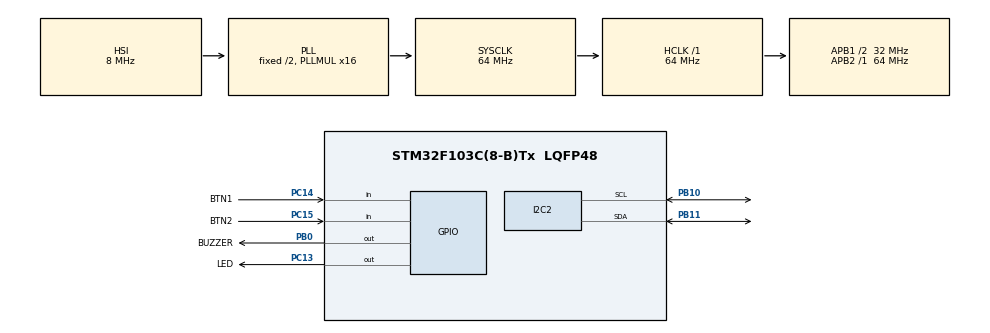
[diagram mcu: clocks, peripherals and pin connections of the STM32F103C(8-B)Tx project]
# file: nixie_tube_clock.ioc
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Mcu.Family=STM32F1
Mcu.Name=STM32F103C(8-B)Tx
Mcu.Package=LQFP48
NVIC.PriorityGroup=NVIC_PRIORITYGROUP_4
PB0.GPIO_Label=BUZZER
PB0.Signal=GPIO_Output
PB10.Mode=I2C
PB10.Signal=I2C2_SCL
PB11.Mode=I2C
PB11.Signal=I2C2_SDA
PC13-TAMPER-RTC.GPIO_Label=LED
PC13-TAMPER-RTC.Signal=GPIO_Output
PC14-OSC32_IN.GPIO_Label=BTN1
PC14-OSC32_IN.GPIO_PuPd=GPIO_PULLUP
PC14-OSC32_IN.Signal=GPIO_Input
PC15-OSC32_OUT.GPIO_Label=BTN2
PC15-OSC32_OUT.GPIO_PuPd=GPIO_PULLUP
PC15-OSC32_OUT.Signal=GPIO_Input
ProjectManager.HeapSize=0x200
ProjectManager.StackSize=0x400
ProjectManager.TargetToolchain=SW4STM32
RCC.AHBFreq_Value=64000000
RCC.APB1CLKDivider=RCC_HCLK_DIV2
RCC.APB1Freq_Value=32000000
RCC.APB1TimFreq_Value=64000000
RCC.APB2Freq_Value=64000000
RCC.APB2TimFreq_Value=64000000
RCC.HCLKFreq_Value=64000000
RCC.PLLMUL=RCC_PLL_MUL16
RCC.SYSCLKFreq_VALUE=64000000
RCC.SYSCLKSource=RCC_SYSCLKSOURCE_PLLCLK
RCC.USBFreq_Value=64000000
VP_SYS_VS_ND.Mode=No_Debug
board=nixie_tube_clock

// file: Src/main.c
/**
  ******************************************************************************
  * File Name          : main.c
  * Description        : Main program body
  ******************************************************************************
  ** This notice applies to any and all portions of this file
  * that are not between comment pairs USER CODE BEGIN and
  * USER CODE END. Other portions of this file, whether
  * inserted by the user or by software development tools
  * are owned by their respective copyright owners.
  *
  * COPYRIGHT(c) 2018 STMicroelectronics
  *
  * Redistribution and use in source and binary forms, with or without modification,
  * are permitted provided that the following conditions are met:
  *   1. Redistributions of source code must retain the above copyright notice,
  *      this list of conditions and the following disclaimer.
  *   2. Redistributions in binary form must reproduce the above copyright notice,
  *      this list of conditions and the following disclaimer in the documentation
  *      and/or other materials provided with the distribution.
  *   3. Neither the name of STMicroelectronics nor the names of its contributors
  *      may be used to endorse or promote products derived from this software
  *      without specific prior written permission.
  *
  * THIS SOFTWARE IS PROVIDED BY THE COPYRIGHT HOLDERS AND CONTRIBUTORS "AS IS"
  * AND ANY EXPRESS OR IMPLIED WARRANTIES, INCLUDING, BUT NOT LIMITED TO, THE
  * IMPLIED WARRANTIES OF MERCHANTABILITY AND FITNESS FOR A PARTICULAR PURPOSE ARE
  * DISCLAIMED. IN NO EVENT SHALL THE COPYRIGHT HOLDER OR CONTRIBUTORS BE LIABLE
  * FOR ANY DIRECT, INDIRECT, INCIDENTAL, SPECIAL, EXEMPLARY, OR CONSEQUENTIAL
  * DAMAGES (INCLUDING, BUT NOT LIMITED TO, PROCUREMENT OF SUBSTITUTE GOODS OR
  * SERVICES; LOSS OF USE, DATA, OR PROFITS; OR BUSINESS INTERRUPTION) HOWEVER
  * CAUSED AND ON ANY THEORY OF LIABILITY, WHETHER IN CONTRACT, STRICT LIABILITY,
  * OR TORT (INCLUDING NEGLIGENCE OR OTHERWISE) ARISING IN ANY WAY OUT OF THE USE
  * OF THIS SOFTWARE, EVEN IF ADVISED OF THE POSSIBILITY OF SUCH DAMAGE.
  *
  ******************************************************************************
  */
#include "main.h"
#include "stm32f1xx_hal.h"

/* USER CODE BEGIN Includes */
#include "ssd1306.h"

/* USER CODE END Includes */

I2C_HandleTypeDef hi2c2;

/* USER CODE BEGIN PV */
/* Private variables ---------------------------------------------------------*/
SSD1306_device_t* LCD_dev;

/* USER CODE END PV */

void SystemClock_Config(void);
static void MX_GPIO_Init(void);
static void MX_I2C2_Init(void);

/* USER CODE BEGIN PFP */
/* Private function prototypes -----------------------------------------------*/

/* USER CODE END PFP */

int main(void)
{

  /* MCU Configuration----------------------------------------------------------*/

  /* Reset of all peripherals, Initializes the Flash interface and the Systick. */
  HAL_Init();

  /* Configure the system clock */
  SystemClock_Config();

  /* Initialize all configured peripherals */
  MX_GPIO_Init();
  MX_I2C2_Init();

  /* USER CODE BEGIN 2 */
  uint8_t button1 = 0, button2 = 0;

	SSD1306_device_init_t LCD_init_dev =
	{
		.background = White,
		.width = 128,
		.height = 64,
		.port = &hi2c2,
		.font = &Font_11x18,
	};

  	LCD_dev = ssd1306_init(&LCD_init_dev);

  	LCD_dev->clear_wo_update(LCD_dev);
  	LCD_dev->cursor(LCD_dev, 23, 23);
  	LCD_dev->string(LCD_dev, "LCD Init'd");
  	LCD_dev->update(LCD_dev);

  	uint8_t count = 0;
  	uint16_t tmp = 0;
  	char buffer[4];

  	HAL_Delay(1000);
  	LCD_dev->clear_wo_update(LCD_dev);
  	LCD_dev->cursor(LCD_dev, 23, 23);
  	LCD_dev->string(LCD_dev, "hi");
  	LCD_dev->update(LCD_dev);
  /* USER CODE END 2 */

  /* Infinite loop */
  while (1)
  {

  /* USER CODE BEGIN 3 */
	  //	  if(HAL_GPIO_ReadPin(BTN2_GPIO_Port, BTN2_Pin) | HAL_GPIO_ReadPin(BTN1_GPIO_Port, BTN1_Pin))
	  //		  HAL_GPIO_TogglePin(LED_GPIO_Port, LED_Pin);
	  button1 = HAL_GPIO_ReadPin(BTN2_GPIO_Port, BTN2_Pin);
	  button2 = HAL_GPIO_ReadPin(BTN1_GPIO_Port, BTN1_Pin);
	  if(button1){
		  HAL_GPIO_WritePin(LED_GPIO_Port, LED_Pin, GPIO_PIN_SET);
	  } else{
		  HAL_GPIO_WritePin(LED_GPIO_Port, LED_Pin, GPIO_PIN_RESET);
	  }
	  if(tmp == 20000){
		  count++;
		  tmp = 0;
		  sprintf(buffer, "%d", count);
		  	LCD_dev->clear_wo_update(LCD_dev);
		  	LCD_dev->cursor(LCD_dev, 1, 1);
		  	LCD_dev->string(LCD_dev, "HELLO");
		  	LCD_dev->cursor(LCD_dev, 23, 23);
		  	LCD_dev->string(LCD_dev, buffer);
		  	LCD_dev->update(LCD_dev);
	  }
	  else
		  tmp++;

	  if((button2 == 0) && (tmp%100 == 0)){
	  		  HAL_GPIO_TogglePin(BUZZER_GPIO_Port, BUZZER_Pin);
	  	  }else{
			  HAL_GPIO_WritePin(BUZZER_GPIO_Port, BUZZER_Pin, GPIO_PIN_RESET);
	  	  }
  }
  /* USER CODE END 3 */

}

/** System Clock Configuration
*/
void SystemClock_Config(void)
{

  RCC_OscInitTypeDef RCC_OscInitStruct;
  RCC_ClkInitTypeDef RCC_ClkInitStruct;

    /**Initializes the CPU, AHB and APB busses clocks
    */
  RCC_OscInitStruct.OscillatorType = RCC_OSCILLATORTYPE_HSI;
  RCC_OscInitStruct.HSIState = RCC_HSI_ON;
  RCC_OscInitStruct.HSICalibrationValue = 16;
  RCC_OscInitStruct.PLL.PLLState = RCC_PLL_ON;
  RCC_OscInitStruct.PLL.PLLSource = RCC_PLLSOURCE_HSI_DIV2;
  RCC_OscInitStruct.PLL.PLLMUL = RCC_PLL_MUL16;
  if (HAL_RCC_OscConfig(&RCC_OscInitStruct) != HAL_OK)
  {
    _Error_Handler(__FILE__, __LINE__);
  }

    /**Initializes the CPU, AHB and APB busses clocks
    */
  RCC_ClkInitStruct.ClockType = RCC_CLOCKTYPE_HCLK|RCC_CLOCKTYPE_SYSCLK
                              |RCC_CLOCKTYPE_PCLK1|RCC_CLOCKTYPE_PCLK2;
  RCC_ClkInitStruct.SYSCLKSource = RCC_SYSCLKSOURCE_PLLCLK;
  RCC_ClkInitStruct.AHBCLKDivider = RCC_SYSCLK_DIV1;
  RCC_ClkInitStruct.APB1CLKDivider = RCC_HCLK_DIV2;
  RCC_ClkInitStruct.APB2CLKDivider = RCC_HCLK_DIV1;

  if (HAL_RCC_ClockConfig(&RCC_ClkInitStruct, FLASH_LATENCY_2) != HAL_OK)
  {
    _Error_Handler(__FILE__, __LINE__);
  }

    /**Configure the Systick interrupt time
    */
  HAL_SYSTICK_Config(HAL_RCC_GetHCLKFreq()/1000);

    /**Configure the Systick
    */
  HAL_SYSTICK_CLKSourceConfig(SYSTICK_CLKSOURCE_HCLK);

  /* SysTick_IRQn interrupt configuration */
  HAL_NVIC_SetPriority(SysTick_IRQn, 0, 0);
}

/* I2C2 init function */
static void MX_I2C2_Init(void)
{

  hi2c2.Instance = I2C2;
  hi2c2.Init.ClockSpeed = 100000;
  hi2c2.Init.DutyCycle = I2C_DUTYCYCLE_2;
  hi2c2.Init.OwnAddress1 = 0;
  hi2c2.Init.AddressingMode = I2C_ADDRESSINGMODE_7BIT;
  hi2c2.Init.DualAddressMode = I2C_DUALADDRESS_DISABLE;
  hi2c2.Init.OwnAddress2 = 0;
  hi2c2.Init.GeneralCallMode = I2C_GENERALCALL_DISABLE;
  hi2c2.Init.NoStretchMode = I2C_NOSTRETCH_DISABLE;
  if (HAL_I2C_Init(&hi2c2) != HAL_OK)
  {
    _Error_Handler(__FILE__, __LINE__);
  }

}

/** Configure pins as
        * Analog
        * Input
        * Output
        * EVENT_OUT
        * EXTI
*/
static void MX_GPIO_Init(void)
{

  GPIO_InitTypeDef GPIO_InitStruct;

  /* GPIO Ports Clock Enable */
  __HAL_RCC_GPIOC_CLK_ENABLE();
  __HAL_RCC_GPIOB_CLK_ENABLE();

  /*Configure GPIO pin Output Level */
  HAL_GPIO_WritePin(LED_GPIO_Port, LED_Pin, GPIO_PIN_RESET);

  /*Configure GPIO pin Output Level */
  HAL_GPIO_WritePin(BUZZER_GPIO_Port, BUZZER_Pin, GPIO_PIN_RESET);

  /*Configure GPIO pin : LED_Pin */
  GPIO_InitStruct.Pin = LED_Pin;
  GPIO_InitStruct.Mode = GPIO_MODE_OUTPUT_PP;
  GPIO_InitStruct.Speed = GPIO_SPEED_FREQ_LOW;
  HAL_GPIO_Init(LED_GPIO_Port, &GPIO_InitStruct);

  /*Configure GPIO pins : BTN1_Pin BTN2_Pin */
  GPIO_InitStruct.Pin = BTN1_Pin|BTN2_Pin;
  GPIO_InitStruct.Mode = GPIO_MODE_INPUT;
  GPIO_InitStruct.Pull = GPIO_PULLUP;
  HAL_GPIO_Init(GPIOC, &GPIO_InitStruct);

  /*Configure GPIO pin : BUZZER_Pin */
  GPIO_InitStruct.Pin = BUZZER_Pin;
  GPIO_InitStruct.Mode = GPIO_MODE_OUTPUT_PP;
  GPIO_InitStruct.Speed = GPIO_SPEED_FREQ_LOW;
  HAL_GPIO_Init(BUZZER_GPIO_Port, &GPIO_InitStruct);

}

void _Error_Handler(char * file, int line)
{
  while(1)
  {
  }
}

/************************ (C) COPYRIGHT STMicroelectronics *****END OF FILE****/
